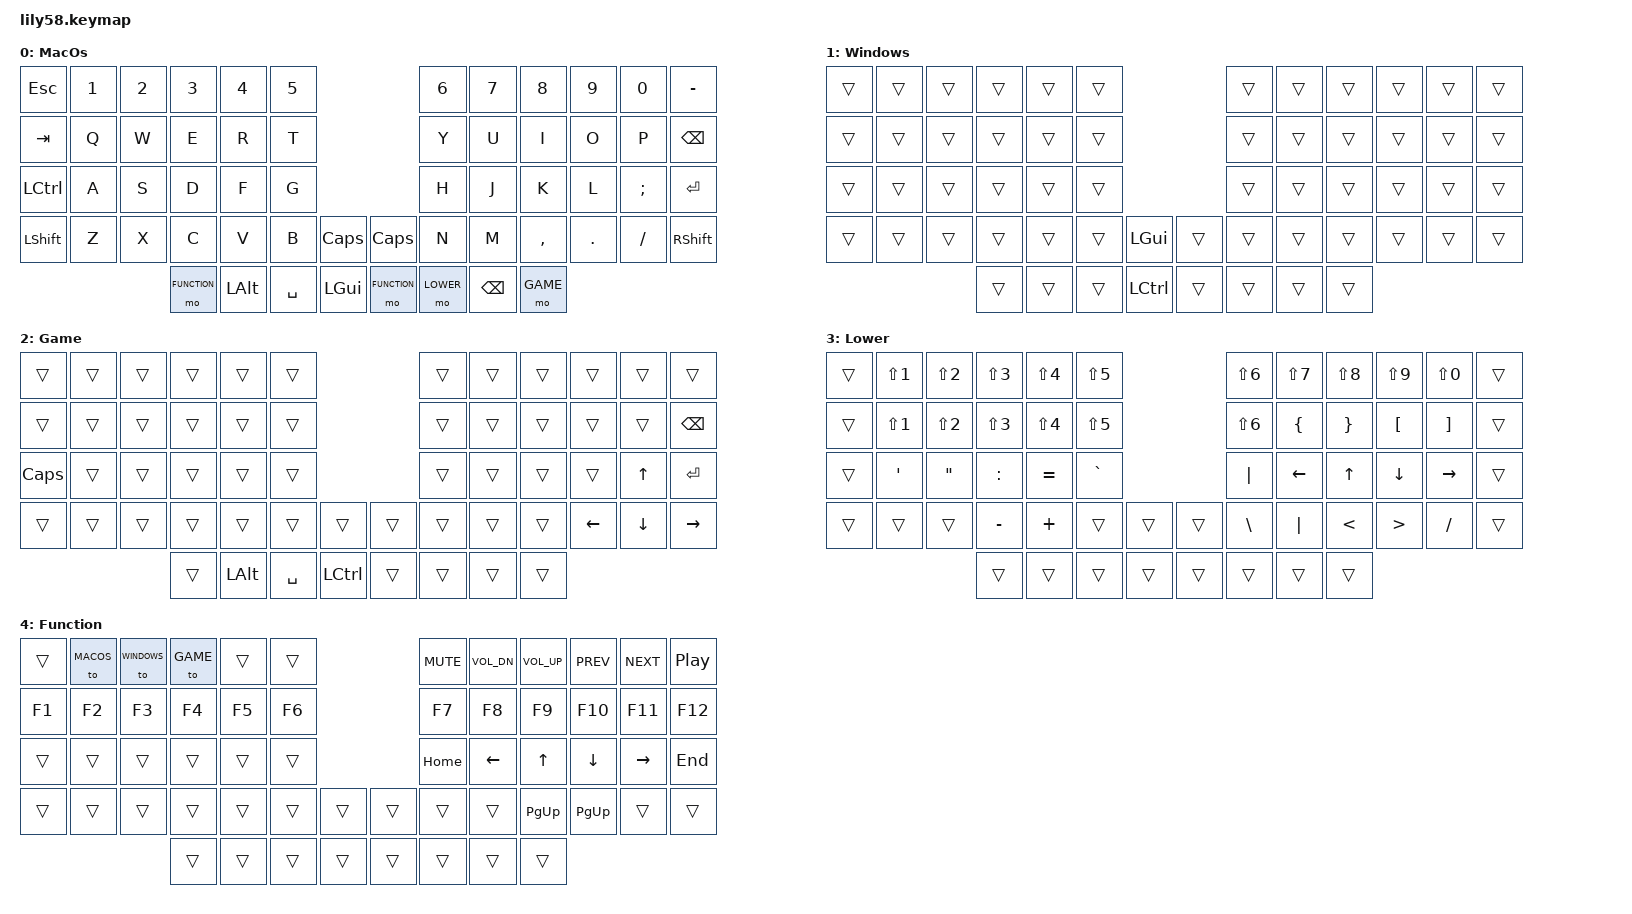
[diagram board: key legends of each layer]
/*
 * Copyright (c) 2020 The ZMK Contributors
 *
 * SPDX-License-Identifier: MIT
 */

#include <behaviors.dtsi>
#include <dt-bindings/zmk/keys.h>
#include <dt-bindings/zmk/bt.h>
#include <dt-bindings/zmk/ext_power.h>

#define MACOS       0
#define WINDOWS     1
#define GAME        2
#define LOWER       3
#define FUNCTION    4

/ {
    keymap {
        compatible = "zmk,keymap";

        default_layer {
            display-name = "MacOs";
            bindings = <
&kp ESC     &kp N1      &kp N2      &kp N3          &kp N4      &kp N5                                  &kp N6      &kp N7      &kp N8      &kp N9      &kp N0      &kp MINUS
&kp TAB     &kp Q       &kp W       &kp E           &kp R       &kp T                                   &kp Y       &kp U       &kp I       &kp O       &kp P       &kp BSPC
&kp LCTRL   &kp A       &kp S       &kp D           &kp F       &kp G                                   &kp H       &kp J       &kp K       &kp L       &kp SEMI    &kp RET
&kp LSHFT   &kp Z       &kp X       &kp C           &kp V       &kp B       &kp CAPS    &kp CAPS        &kp N       &kp M       &kp COMMA   &kp DOT     &kp FSLH    &kp RSHFT
                                    &mo FUNCTION    &kp LALT    &kp SPACE   &kp LGUI    &mo FUNCTION    &mo LOWER   &kp BSPC    &mo GAME
            >;
        };

        windows_layer {
            display-name = "Windows";
            bindings = <
&trans      &trans      &trans      &trans      &trans      &trans                              &trans      &trans      &trans      &trans      &trans      &trans
&trans      &trans      &trans      &trans      &trans      &trans                              &trans      &trans      &trans      &trans      &trans      &trans
&trans      &trans      &trans      &trans      &trans      &trans                              &trans      &trans      &trans      &trans      &trans      &trans
&trans      &trans      &trans      &trans      &trans      &trans      &kp LGUI    &trans      &trans      &trans      &trans      &trans      &trans      &trans
                                    &trans      &trans      &trans      &kp LCTRL   &trans      &trans      &trans      &trans
            >;
        };

        game_layer {
            display-name = "Game";
            bindings = <
&trans      &trans      &trans      &trans      &trans      &trans                              &trans      &trans      &trans      &trans      &trans      &trans
&trans      &trans      &trans      &trans      &trans      &trans                              &trans      &trans      &trans      &trans      &trans      &kp BSPC
&kp CAPS    &trans      &trans      &trans      &trans      &trans                              &trans      &trans      &trans      &trans      &kp UP      &kp RET
&trans      &trans      &trans      &trans      &trans      &trans      &trans      &trans      &trans      &trans      &trans      &kp LEFT    &kp DOWN    &kp RIGHT
                                    &trans      &kp LALT    &kp SPACE   &kp LCTRL   &trans      &trans      &trans      &trans
            >;
        };

        lower_layer {
            display-name = "Lower";
            bindings = <
&trans      &kp LS(N1)  &kp LS(N2)  &kp LS(N3)  &kp LS(N4)  &kp LS(N5)                          &kp LS(N6)      &kp LS(N7)  &kp LS(N8)  &kp LS(N9)  &kp LS(N0)  &trans
&trans      &kp LS(N1)  &kp LS(N2)  &kp LS(N3)  &kp LS(N4)  &kp LS(N5)                          &kp LS(N6)      &kp LBRC    &kp RBRC    &kp LBKT    &kp RBKT    &trans
&trans      &kp SQT     &kp DQT     &kp COLON   &kp EQUAL   &kp GRAVE                           &kp PIPE        &kp LEFT    &kp UP      &kp DOWN    &kp RIGHT   &trans
&trans      &trans      &trans      &kp MINUS   &kp PLUS    &trans      &trans      &trans      &kp BACKSLASH   &kp PIPE    &kp LT      &kp GT      &kp SLASH   &trans
                                    &trans      &trans      &trans      &trans      &trans      &trans          &trans      &trans
            >;
        };

        function_layer {
            display-name = "Function";
            bindings = <
&trans      &to MACOS   &to WINDOWS &to GAME    &trans      &trans                              &kp C_MUTE  &kp C_VOL_DN    &kp C_VOL_UP    &kp C_PREV  &kp C_NEXT  &kp C_PLAY_PAUSE
&kp F1      &kp F2      &kp F3      &kp F4      &kp F5      &kp F6                              &kp F7      &kp F8          &kp F9          &kp F10     &kp F11     &kp F12
&trans      &trans      &trans      &trans      &trans      &trans                              &kp HOME    &kp LEFT        &kp UP          &kp DOWN    &kp RIGHT   &kp END
&trans      &trans      &trans      &trans      &trans      &trans      &trans      &trans      &trans      &trans          &kp PG_UP       &kp PG_UP   &trans      &trans
                                    &trans      &trans      &trans      &trans      &trans      &trans      &trans          &trans
            >;
        };
    };
};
